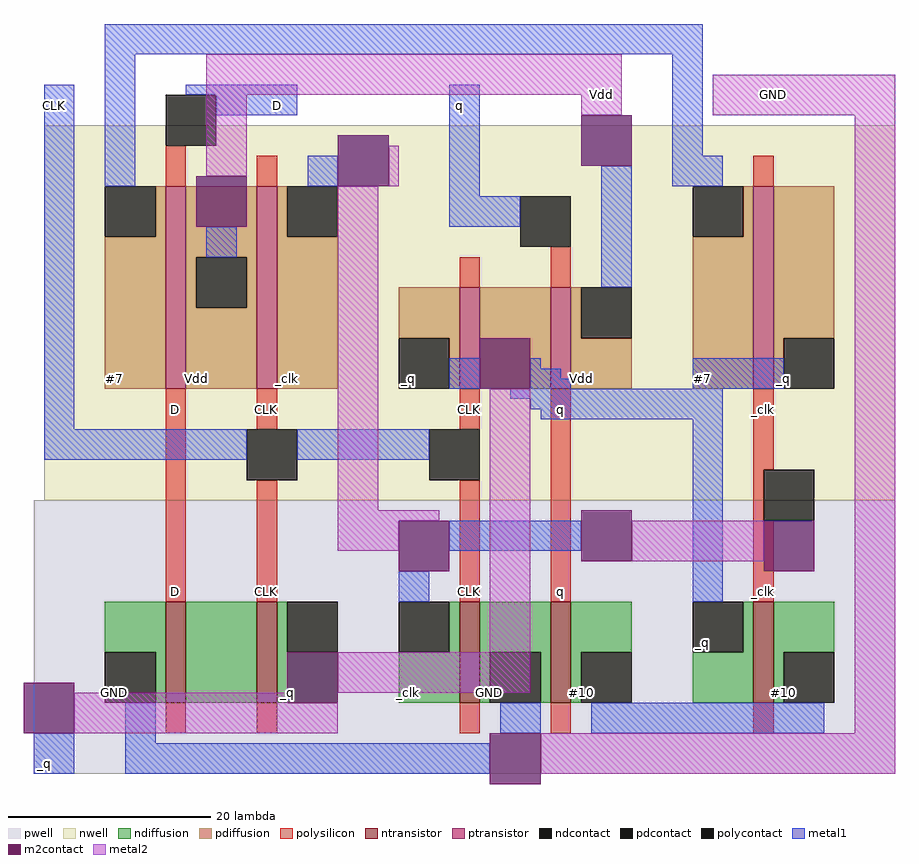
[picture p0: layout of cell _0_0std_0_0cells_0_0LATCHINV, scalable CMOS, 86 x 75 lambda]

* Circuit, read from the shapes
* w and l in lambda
.subckt _0_0std_0_0cells_0_0LATCHINV q D CLK _q GND Vdd
M1 n1 D GND VSUBS nfet w=10 l=2
M2 _q CLK n1 VSUBS nfet w=10 l=2
M3 GND CLK _clk VSUBS nfet w=10 l=2
M4 #10 q GND VSUBS nfet w=10 l=2
M5 #10 _clk _q VSUBS nfet w=10 l=2
M6 Vdd D #7 n2 pfet w=20 l=2
M7 _clk CLK Vdd n2 pfet w=20 l=2
M8 n3 CLK _q n2 pfet w=10 l=2
M9 Vdd q n3 n2 pfet w=10 l=2
M10 _q _clk #7 n2 pfet w=20 l=2
.ends

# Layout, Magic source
magic
tech scmos
<< nwell >>
rect 2 22 86 59
<< pwell >>
rect 1 -5 86 22
<< ntransistor >>
rect 14 2 16 12
rect 23 2 25 12
rect 43 2 45 12
rect 52 2 54 12
rect 72 2 74 12
<< ptransistor >>
rect 14 33 16 53
rect 23 33 25 53
rect 43 33 45 43
rect 52 33 54 43
rect 72 33 74 53
<< ndiffusion >>
rect 8 7 14 12
rect 13 2 14 7
rect 16 2 23 12
rect 25 7 26 12
rect 25 2 31 7
rect 42 7 43 12
rect 37 2 43 7
rect 45 7 52 12
rect 45 2 46 7
rect 51 2 52 7
rect 54 7 60 12
rect 54 2 55 7
rect 71 7 72 12
rect 66 2 72 7
rect 74 7 80 12
rect 74 2 75 7
<< pdiffusion >>
rect 13 48 14 53
rect 8 33 14 48
rect 16 46 23 53
rect 16 41 17 46
rect 22 41 23 46
rect 16 33 23 41
rect 25 48 26 53
rect 25 33 31 48
rect 71 48 72 53
rect 37 38 43 43
rect 42 33 43 38
rect 45 33 52 43
rect 54 38 55 43
rect 54 33 60 38
rect 66 33 72 48
rect 74 38 80 53
rect 74 33 75 38
<< ndcontact >>
rect 8 2 13 7
rect 26 7 31 12
rect 37 7 42 12
rect 46 2 51 7
rect 55 2 60 7
rect 66 7 71 12
rect 75 2 80 7
<< pdcontact >>
rect 8 48 13 53
rect 17 41 22 46
rect 26 48 31 53
rect 66 48 71 53
rect 37 33 42 38
rect 55 38 60 43
rect 75 33 80 38
<< polysilicon >>
rect 14 53 16 57
rect 23 53 25 56
rect 72 53 74 56
rect 43 43 45 46
rect 52 43 54 47
rect 14 12 16 33
rect 23 29 25 33
rect 43 29 45 33
rect 23 12 25 24
rect 43 12 45 24
rect 52 12 54 33
rect 72 25 74 33
rect 72 20 73 25
rect 72 12 74 20
rect 14 -1 16 2
rect 23 -1 25 2
rect 43 -1 45 2
rect 52 -1 54 2
rect 72 -1 74 2
<< polycontact >>
rect 14 57 19 62
rect 49 47 54 52
rect 22 24 27 29
rect 40 24 45 29
rect 73 20 78 25
<< metal1 >>
rect 8 66 67 69
rect 2 29 5 63
rect 8 53 11 66
rect 16 62 27 63
rect 19 60 27 62
rect 28 53 31 56
rect 18 46 21 49
rect 42 52 45 63
rect 42 49 49 52
rect 57 43 60 55
rect 64 56 67 66
rect 64 53 69 56
rect 42 33 45 36
rect 50 35 51 36
rect 50 34 53 35
rect 50 33 54 34
rect 66 33 75 36
rect 48 32 69 33
rect 50 31 69 32
rect 51 30 69 31
rect 2 26 22 29
rect 27 26 40 29
rect 42 17 55 20
rect 37 12 40 15
rect 66 12 69 30
rect 1 -5 5 -1
rect 10 -2 13 2
rect 47 -1 51 2
rect 56 -1 79 2
rect 10 -5 46 -2
<< m2contact >>
rect 17 49 22 54
rect 31 53 36 58
rect 55 55 60 60
rect 45 33 50 38
rect 37 15 42 20
rect 55 16 60 21
rect 73 15 78 20
rect 0 -1 5 4
rect 26 2 31 7
rect 46 -6 51 -1
<< metal2 >>
rect 18 62 59 66
rect 18 54 22 62
rect 55 60 59 62
rect 68 60 86 64
rect 36 53 37 57
rect 31 21 35 53
rect 31 20 41 21
rect 31 17 37 20
rect 46 7 50 33
rect 60 16 73 20
rect 5 2 26 3
rect 31 3 50 7
rect 5 -1 31 2
rect 82 -1 86 60
rect 51 -5 86 -1
<< labels >>
rlabel pdiffusion 26 34 26 34 3 _clk
rlabel polysilicon 24 31 24 31 3 CLK
rlabel pdiffusion 17 34 17 34 3 Vdd
rlabel polysilicon 15 31 15 31 3 D
rlabel pdiffusion 9 34 9 34 3 #7
rlabel metal1 25 61 25 61 3 D
port 4 e default input
rlabel ndiffusion 26 3 26 3 3 _q
rlabel polysilicon 24 13 24 13 3 CLK
rlabel polysilicon 15 13 15 13 3 D
rlabel ndcontact 9 3 9 3 3 GND
rlabel metal1 3 61 3 61 3 CLK
port 6 e default input
rlabel pdiffusion 55 34 55 34 3 Vdd
rlabel polysilicon 53 31 53 31 3 q
rlabel polysilicon 44 31 44 31 3 CLK
rlabel pdcontact 38 34 38 34 3 _q
rlabel metal1 43 61 43 61 3 q
port 3 e default input
rlabel ndiffusion 55 3 55 3 3 #10
rlabel polysilicon 53 13 53 13 3 q
rlabel polysilicon 44 13 44 13 3 CLK
rlabel ndiffusion 38 3 38 3 3 _clk
rlabel ndiffusion 46 3 46 3 3 GND
rlabel ndiffusion 75 3 75 3 3 #10
rlabel pdiffusion 75 34 75 34 3 _q
rlabel pdiffusion 67 34 67 34 3 #7
rlabel polysilicon 73 13 73 13 3 _clk
rlabel polysilicon 73 31 73 31 3 _clk
rlabel ndcontact 67 8 67 8 3 _q
rlabel metal1 2 -4 2 -4 2 _q
port 7 ne default output
rlabel metal2 74 62 74 62 1 GND
port 8 n ground input
rlabel metal2 57 62 57 62 1 Vdd
port 9 n power input
<< end >>
